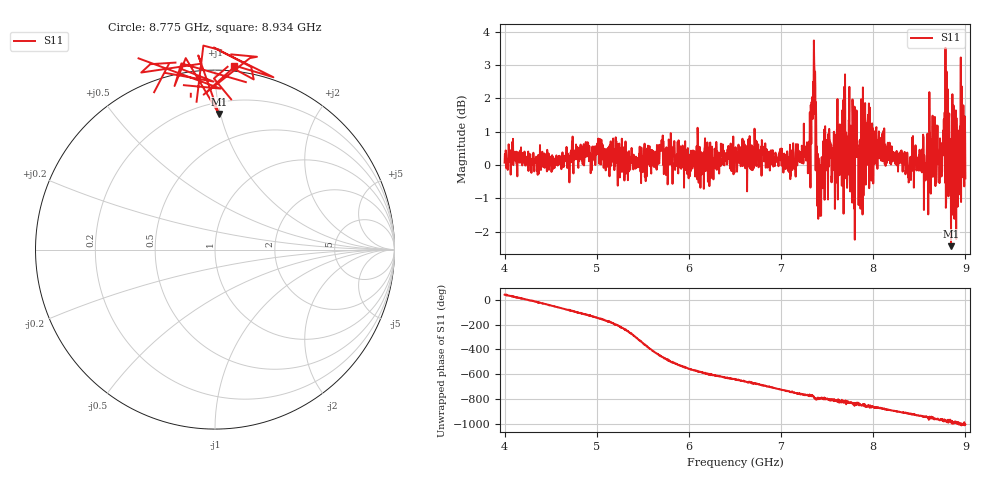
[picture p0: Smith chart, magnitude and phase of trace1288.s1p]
! Created with skrf 1.8.0 (http://scikit-rf.org).
# Hz S RI R 50.0
!freq ReS11 ImS11
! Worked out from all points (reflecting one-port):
!   1601 points, 4 GHz to 9 GHz, reference 50 ohm
!   lowest |S11| = -2.4 dB at 8.844 GHz (marker M1), VSWR 7.18, Z = 14.1 + j49.5 ohm
!   phase of S11 starts at 43 deg and turns -1049 deg over the sweep
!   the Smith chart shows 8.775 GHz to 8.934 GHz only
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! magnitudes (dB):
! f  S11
! 4 GHz  0.1
! 4.625 GHz  0.0
! 5.012 GHz  0.5
! 5.25 GHz  -0.4
! 5.709 GHz  0.4
! 5.753 GHz  -0.3
! 5.875 GHz  0.0
! 6.5 GHz  0.3
! 7.125 GHz  0.5
! 7.294 GHz  0.4
! 7.347 GHz  2.5
! 7.362 GHz  2.9
! 7.4 GHz  0.3
! 7.416 GHz  -0.8
! 7.503 GHz  0.4
! 7.572 GHz  1.0
! 7.688 GHz  1.1
! 7.75 GHz  -0.8
! 7.775 GHz  2.0
! 7.8 GHz  -2.2
! 7.859 GHz  0.8
! 7.928 GHz  1.2
! 8.375 GHz  0.0
! 8.725 GHz  0.8
! 8.788 GHz  -1.3
! 8.844 GHz  -2.4
! 8.972 GHz  0.6
! 9 GHz  -0.4
